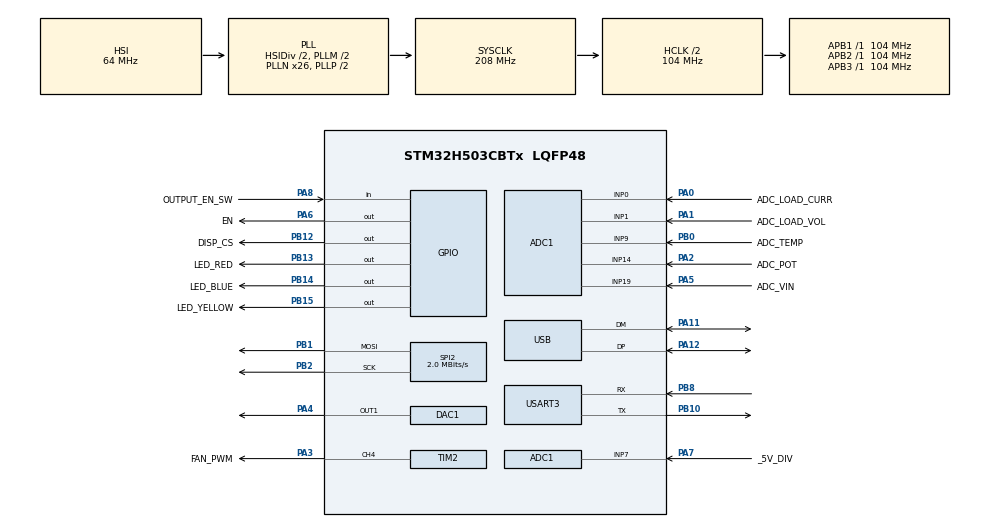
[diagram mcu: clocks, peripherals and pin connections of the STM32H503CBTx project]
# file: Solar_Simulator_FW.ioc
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ADC1.Channel-2\#ChannelRegularConversion=ADC_CHANNEL_1
ADC1.Channel-3\#ChannelRegularConversion=ADC_CHANNEL_0
ADC1.Channel-4\#ChannelRegularConversion=ADC_CHANNEL_19
ADC1.Channel-5\#ChannelRegularConversion=ADC_CHANNEL_9
ADC1.Channel-6\#ChannelRegularConversion=ADC_CHANNEL_14
ADC1.ContinuousConvMode=DISABLE
ADC1.DMAContinuousRequests=DISABLE
ADC1.EOCSelection=ADC_EOC_SINGLE_CONV
ADC1.EnableRegularConversion=ENABLE
ADC1.ExternalTrigConv=ADC_EXTERNALTRIG_T3_TRGO
ADC1.MonitoredBy-2\#ChannelRegularConversion=__NULL
ADC1.MonitoredBy-3\#ChannelRegularConversion=__NULL
ADC1.MonitoredBy-4\#ChannelRegularConversion=__NULL
ADC1.MonitoredBy-5\#ChannelRegularConversion=__NULL
ADC1.MonitoredBy-6\#ChannelRegularConversion=__NULL
ADC1.NbrOfConversion=5
ADC1.NbrOfConversionFlag=1
ADC1.OffsetNumber-2\#ChannelRegularConversion=ADC_OFFSET_NONE
ADC1.OffsetNumber-3\#ChannelRegularConversion=ADC_OFFSET_NONE
ADC1.OffsetNumber-4\#ChannelRegularConversion=ADC_OFFSET_NONE
ADC1.OffsetNumber-5\#ChannelRegularConversion=ADC_OFFSET_NONE
ADC1.OffsetNumber-6\#ChannelRegularConversion=ADC_OFFSET_NONE
ADC1.OversamplingMode=DISABLE
ADC1.Rank-2\#ChannelRegularConversion=1
ADC1.Rank-3\#ChannelRegularConversion=2
ADC1.Rank-4\#ChannelRegularConversion=3
ADC1.Rank-5\#ChannelRegularConversion=4
ADC1.Rank-6\#ChannelRegularConversion=5
ADC1.SamplingTime-2\#ChannelRegularConversion=ADC_SAMPLETIME_12CYCLES_5
ADC1.SamplingTime-3\#ChannelRegularConversion=ADC_SAMPLETIME_12CYCLES_5
ADC1.SamplingTime-4\#ChannelRegularConversion=ADC_SAMPLETIME_6CYCLES_5
ADC1.SamplingTime-5\#ChannelRegularConversion=ADC_SAMPLETIME_6CYCLES_5
ADC1.SamplingTime-6\#ChannelRegularConversion=ADC_SAMPLETIME_6CYCLES_5
ADC1.master=1
BOOTPATH.BootPathName=LEGACY
BOOTPATH.UserSelectedBootPath=LEGACY
DAC1.DAC_Channel-DAC_OUT1=DAC_CHANNEL_1
GPDMA1.CIRCULARMODE_GPDMACH7=DISABLE
GPDMA1.DESTDATAWIDTH_GPDMACH7=DMA_DEST_DATAWIDTH_HALFWORD
GPDMA1.DESTINC_GPDMACH7=DMA_DINC_INCREMENTED
GPDMA1.IPHANDLE_GPDMACH7-SIMPLEREQUEST_GPDMACH7=__NULL
GPDMA1.PRIORITY_GPDMACH7=DMA_LOW_PRIORITY_HIGH_WEIGHT
GPDMA1.REQUEST_GPDMACH7=GPDMA1_REQUEST_ADC1
GPDMA1.SRCDATAWIDTH_GPDMACH7=DMA_SRC_DATAWIDTH_HALFWORD
GPDMA1.TRIGGERPOLARITY_GPDMACH7=DMA_TRIG_POLARITY_MASKED
Mcu.Family=STM32H5
Mcu.Name=STM32H503CBTx
Mcu.Package=LQFP48
NVIC.GPDMA1_Channel7_IRQn=true\:0\:0\:false\:false\:true\:false\:true\:true
NVIC.PriorityGroup=NVIC_PRIORITYGROUP_4
NVIC.TIM1_UP_IRQn=true\:1\:0\:true\:false\:true\:true\:true\:true
NVIC.TIM3_IRQn=true\:0\:0\:false\:false\:true\:true\:true\:true
PA0.GPIO_Label=ADC_LOAD_CURR
PA0.Signal=ADCx_INP0
PA1.GPIO_Label=ADC_LOAD_VOL
PA1.Signal=ADCx_INP1
PA11.Mode=Device
PA11.Signal=USB_DM
PA12.Mode=Device
PA12.Signal=USB_DP
PA13(JTMS/SWDIO).Mode=Trace_Asynchronous_SW
PA13(JTMS/SWDIO).Signal=DEBUG_JTMS-SWDIO
PA14(JTCK/SWCLK).Mode=Trace_Asynchronous_SW
PA14(JTCK/SWCLK).Signal=DEBUG_JTCK-SWCLK
PA2.GPIO_Label=ADC_POT
PA2.Signal=ADCx_INP14
PA3.GPIO_Label=FAN_PWM
PA3.Signal=S_TIM2_CH4
PA4.Signal=COMP_DAC11_group
PA5.GPIO_Label=ADC_VIN
PA5.Signal=ADCx_INP19
PA6.GPIO_Label=EN
PA6.Signal=GPIO_Output
PA7.GPIO_Label=_5V_DIV
PA7.Signal=ADCx_INP7
PA8.GPIO_Label=OUTPUT_EN_SW
PA8.Signal=GPIO_Input
PB0.GPIO_Label=ADC_TEMP
PB0.Signal=ADCx_INP9
PB1.Mode=TX_Only_Simplex_Unidirect_Master
PB1.Signal=SPI2_MOSI
PB10.Mode=Asynchronous
PB10.Signal=USART3_TX
PB12.GPIO_Label=DISP_CS
PB12.Signal=GPIO_Output
PB13.GPIO_Label=LED_RED
PB13.Signal=GPIO_Output
PB14.GPIO_Label=LED_BLUE
PB14.Signal=GPIO_Output
PB15.GPIO_Label=LED_YELLOW
PB15.Signal=GPIO_Output
PB2.Mode=TX_Only_Simplex_Unidirect_Master
PB2.Signal=SPI2_SCK
PB3(JTDO/TRACESWO).Mode=Trace_Asynchronous_SW
PB3(JTDO/TRACESWO).Signal=DEBUG_JTDO-SWO
PB8.Mode=Asynchronous
PB8.Signal=USART3_RX
ProjectManager.HeapSize=0x200
ProjectManager.StackSize=0x400
ProjectManager.TargetToolchain=STM32CubeIDE
RCC.ADCFreq_Value=104000000
RCC.AHBCLKDivider=RCC_SYSCLK_DIV2
RCC.AHBFreq_Value=104000000
RCC.APB1Freq_Value=104000000
RCC.APB1TimFreq_Value=104000000
RCC.APB2Freq_Value=104000000
RCC.APB2TimFreq_Value=104000000
RCC.APB3Freq_Value=104000000
RCC.CSI_VALUE=4000000
RCC.CortexFreq_Value=104000000
RCC.DACLowPowerCLockSelection=RCC_DACLPCLKSOURCE_LSI
RCC.EPOD_VALUE=32000000
RCC.HCLKFreq_Value=104000000
RCC.HSE_VALUE=25000000
RCC.HSI48_VALUE=48000000
RCC.HSI_VALUE=64000000
RCC.LSE_VALUE=32768
RCC.LSIRC_VALUE=32000
RCC.PLL1Q=16
RCC.PLL2FRACN=0
RCC.PLL2N=32
RCC.PLL2P=32
RCC.PLL2Q=1
RCC.PLLFRACN=0
RCC.PLLM=2
RCC.PLLN=26
RCC.PLLSourceVirtual=RCC_PLL1_SOURCE_HSI
RCC.PWR_Regulator_Voltage_Scale=PWR_REGULATOR_VOLTAGE_SCALE0
RCC.SPI2CLockSelection=RCC_SPI2CLKSOURCE_PLL2P
RCC.SYSCLKFreq_VALUE=208000000
RCC.SYSCLKSource=RCC_SYSCLKSOURCE_PLLCLK
RCC.USART3CLockSelection=RCC_USART3CLKSOURCE_HSI
RCC.USBFreq_Value=48000000
RCC.VCOOutputFreq_Value=416000000
SH.ADCx_INP0.0=ADC1_INP0,IN0-Single-Ended
SH.ADCx_INP1.0=ADC1_INP1,IN1-Single-Ended
SH.ADCx_INP14.0=ADC1_INP14,IN14-Single-Ended
SH.ADCx_INP19.0=ADC1_INP19,IN19-Single-Ended
SH.ADCx_INP7.0=ADC1_INP7,IN7-Single-Ended
SH.ADCx_INP9.0=ADC1_INP9,IN9-Single-Ended
SH.COMP_DAC11_group.0=DAC1_OUT1,DAC_OUT1
SH.S_TIM2_CH4.0=TIM2_CH4,PWM Generation4 CH4
SPI2.BaudRatePrescaler=SPI_BAUDRATEPRESCALER_2
SPI2.CalculateBaudRate=2.0 MBits/s
SPI2.DataSize=SPI_DATASIZE_8BIT
SPI2.Direction=SPI_DIRECTION_2LINES_TXONLY
SPI2.FirstBit=SPI_FIRSTBIT_LSB
SPI2.Mode=SPI_MODE_MASTER
SPI2.NSSPMode=SPI_NSS_PULSE_DISABLE
SPI2.VirtualType=VM_MASTER
TIM1.PeriodNoDither=59999
TIM1.Prescaler=519
TIM2.Channel-PWM\ Generation4\ CH4=TIM_CHANNEL_4
TIM3.PeriodNoDither=10399
TIM3.TIM_MasterOutputTrigger=TIM_TRGO_UPDATE
USART3.VirtualMode-Asynchronous=VM_ASYNC
USB.VirtualMode=Device_Only
VP_BOOTPATH_VS_BOOTPATH.Mode=BP_Activate
VP_CORTEX_M33_NS_VS_Hclk.Mode=Hclk_Mode
VP_GPDMA1_VS_GPDMACH7.Mode=SIMPLEREQUEST_GPDMACH7
VP_MEMORYMAP_VS_MEMORYMAP.Mode=CurAppReg
VP_PWR_VS_DBSignals.Mode=DisableDeadBatterySignals
VP_PWR_VS_LPOM.Mode=PowerOptimisation
VP_PWR_VS_SECSignals.Mode=Security/Privilege
VP_TIM1_VS_ClockSourceINT.Mode=Internal
VP_TIM3_VS_ClockSourceINT.Mode=Internal
board=custom

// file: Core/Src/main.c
/* USER CODE BEGIN Header */
/**
  ******************************************************************************
  * @file           : main.c
  * @brief          : Main program body
  ******************************************************************************
  * @attention
  *
  * Copyright (c) 2025 STMicroelectronics.
  * All rights reserved.
  *
  * This software is licensed under terms that can be found in the LICENSE file
  * in the root directory of this software component.
  * If no LICENSE file comes with this software, it is provided AS-IS.
  *
  ******************************************************************************
  */
/* USER CODE END Header */
#include "main.h"

/* USER CODE BEGIN Includes */
#include "constants.h"
#include <stdbool.h>
/* USER CODE END Includes */

/* USER CODE BEGIN PD */
#define _swap_int16_t(a, b)                                                    \
  {                                                                            \
    int16_t t = a;                                                             \
    a = b;                                                                     \
    b = t;                                                                     \
  }
/* USER CODE END PD */

ADC_HandleTypeDef hadc1;
DMA_HandleTypeDef handle_GPDMA1_Channel7;

DAC_HandleTypeDef hdac1;

SPI_HandleTypeDef hspi2;

TIM_HandleTypeDef htim1;
TIM_HandleTypeDef htim2;
TIM_HandleTypeDef htim3;

UART_HandleTypeDef huart3;

PCD_HandleTypeDef hpcd_USB_DRD_FS;

void SystemClock_Config(void);
static void MX_GPIO_Init(void);
static void MX_GPDMA1_Init(void);
static void MX_ADC1_Init(void);
static void MX_DAC1_Init(void);
static void MX_SPI2_Init(void);
static void MX_TIM2_Init(void);
static void MX_USART3_UART_Init(void);
static void MX_USB_PCD_Init(void);
static void MX_TIM3_Init(void);
static void MX_TIM1_Init(void);
/* USER CODE BEGIN PFP */
void sendData(char* data);
void Read_ADC_Values(void);
void ADC_SelectChannel(uint32_t channel);
void clearDisplay();
void SPI_Transmit(uint8_t *txData, uint16_t len);
void drawLine(uint8_t lineNumber);
void toggle_VCOM();
void writeBuffer();
void init_buffer();
void clearDisplay();
void drawPixel(int16_t x, int16_t y, uint16_t color);
void writeLine(int16_t x0, int16_t y0, int16_t x1, int16_t y1, uint16_t color);
void drawCircle(int16_t x0, int16_t y0, int16_t r, uint16_t color);
void drawFastRawVLine(int16_t x, int16_t y, int16_t h, uint16_t color);
void drawFastRawHLine(int16_t x, int16_t y, int16_t w, uint16_t color);
void drawFastHLine(int16_t x, int16_t y, int16_t w, uint16_t color);
void drawFastVLine(int16_t x, int16_t y, int16_t h, uint16_t color);
void fillScreen(uint16_t color);
void fillRect(int16_t x, int16_t y, int16_t w, int16_t h, uint16_t color);
void drawChar(int16_t x, int16_t y, unsigned char c, uint16_t color, uint16_t bg, uint8_t size_x, uint8_t size_y);
void drawString(int16_t x, int16_t y, const char *str,  uint16_t color, uint16_t bg, uint8_t size_x, uint8_t size_y);
void drawDouble(float val, int16_t x, int16_t y);
void drawInt(int val, int16_t x, int16_t y);
float map(float x, float in_min, float in_max, float out_min, float out_max);
void HAL_TIM_PeriodElapsedCallback(TIM_HandleTypeDef *htim);
void HAL_ADC_ConvCpltCallback(ADC_HandleTypeDef *hadc);
static inline int find_indices(const float array[], int n, float x);
static inline float linear_interpolate(float x0, float x1, float y1, float x, float slope);
static inline float limit(float in, float min, float max);
void curve_interp(uint16_t irradiance, float *V_sc_interp_inactive, float *Z_sc_interp_inactive);
void curve_interp_1d(float *x_orig, float *y_orig, uint8_t n_orig, float *x_new, float *y_new, uint8_t n_new);

volatile uint8_t slow_timer_flag = 0;
volatile uint16_t adc_buffer[5];

uint8_t Vcom;
uint8_t Line_cnt=0;
uint8_t sharpmem_buffer[400 * 240 / 8];
uint8_t rotation = 0;
volatile uint16_t DAC_test = 0;
volatile uint16_t cnt_pol = 0;

// Digital control loop test
uint32_t ADC_LOAD_VOL_CNTS = 0;
volatile float ADC_LOAD_VOL_V = 0;
volatile float ADC_VIN_V = 0;
volatile float ADC_LOAD_CUR_A = 0;
volatile float error = 0;
volatile float err_accum = 0;
volatile float REF_V = 0;
volatile float u = 0;
volatile uint16_t REF_CNTS = 0;

volatile uint16_t Z_target_ind = 0;
volatile float Z_V_slopes[45];
volatile float V_target = 0;
volatile float Z_out = 0;
volatile float Z_out_filt = 0;
volatile float Z_out_filt_prev = 0;

uint16_t ADC_POT_IRR_FILT = 0;
uint16_t ADC_POT_IRR_FILT_PREV = 0;

// 1<<n is a costly operation on AVR -- table usu. smaller & faster
static const uint8_t set[] = {1, 2, 4, 8, 16, 32, 64, 128};
static const uint8_t clr[] = {(uint8_t)~1,  (uint8_t)~2,  (uint8_t)~4,
                              (uint8_t)~8,  (uint8_t)~16, (uint8_t)~32,
                              (uint8_t)~64, (uint8_t)~128};

volatile uint16_t x1_mapped;
volatile uint16_t x2_mapped;
volatile uint16_t y1_mapped;
volatile uint16_t y2_mapped;
volatile uint16_t i = 0;

volatile float V_sc_interp_A[63];
volatile float Z_sc_interp_A[63];

volatile float V_sc_interp_B[63];
volatile float Z_sc_interp_B[63];

volatile float Z_V_slopes_A[63];
volatile float Z_V_slopes_B[63];

volatile uint8_t A_buffer_active = 1;
volatile uint8_t initial_run = 0;

uint32_t lastStableTime = 0; // Last time the value was stable
bool isStable = false;       // Flag to indicate stability
bool hasRun = false;         // Flag to ensure the code runs only once per stable value

/* USER CODE END PFP */

/* USER CODE BEGIN 0 */
void sendData(char* data)
{
    HAL_UART_Transmit(&huart3, (uint8_t*)data, strlen(data), HAL_MAX_DELAY);
}

void ADC_SelectChannel(uint32_t channel)
{
    ADC_ChannelConfTypeDef sConfig = {0};

    sConfig.Channel = channel;
    sConfig.Rank = ADC_REGULAR_RANK_1;
    sConfig.SamplingTime = ADC_SAMPLETIME_92CYCLES_5;
    sConfig.SingleDiff = ADC_SINGLE_ENDED;
    sConfig.OffsetNumber = ADC_OFFSET_NONE;
    sConfig.Offset = 0;

    // Configure the selected channel
    HAL_ADC_ConfigChannel(&hadc1, &sConfig);
}

uint32_t Read_ADC_Value(uint32_t channel)
{

	ADC_SelectChannel(channel);

    // Start the ADC conversion
    HAL_ADC_Start(&hadc1);

    // Wait for the conversion to complete (polling mode)
    if (HAL_ADC_PollForConversion(&hadc1, 10) == HAL_OK)  // 10ms timeout
    {
        uint32_t adcValue = HAL_ADC_GetValue(&hadc1);
        HAL_ADC_Stop(&hadc1);

    	return adcValue;
    }
    else
    {
        HAL_ADC_Stop(&hadc1);  // Make sure to stop the ADC conversion in case of error
    	return 0xFFFF;
    }
}

void SPI_Transmit(uint8_t *txData, uint16_t len)
{
    // Enable the chip select (CS) line if using software NSS
    //HAL_GPIO_WritePin(GPIOB, DISP_CS_Pin, GPIO_PIN_RESET);
    // Transmit data
    //uint16_t length = 1;//strlen((char *)txData);

    if (HAL_SPI_Transmit(&hspi2, txData, len, HAL_MAX_DELAY) != HAL_OK)
    {
        // Handle error
        Error_Handler();
    }

    // Disable the chip select (CS) line
    //HAL_GPIO_WritePin(GPIOB, DISP_CS_Pin, GPIO_PIN_SET);
}

void drawLine(uint8_t lineNumber) {

  HAL_GPIO_WritePin(GPIOB, DISP_CS_Pin, GPIO_PIN_SET);
  uint8_t line_cmd[] = {(0x01 | Vcom), lineNumber};
  //uint8_t temp = (0x01 | Vcom);
  SPI_Transmit(&line_cmd, 2); //write line command (bits reversed)
  //SPI_Transmit(&temp,1); //write line command (bits reversed)
  //SPI_Transmit(&lineNumber,1);
  uint8_t zerob = 0b00000000;
  for (int i = 0; i <50; i++) {
	  SPI_Transmit(&zerob, 1);
  }
  SPI_Transmit(&zerob, 1);
  SPI_Transmit(&zerob, 1);
  HAL_GPIO_WritePin(GPIOB, DISP_CS_Pin, GPIO_PIN_RESET);

}

void toggle_VCOM(){
  HAL_GPIO_WritePin(GPIOB, DISP_CS_Pin, GPIO_PIN_SET);
  Vcom = Vcom ? 0x00 : 0x02;
  uint8_t tog_cmd[] = {Vcom, 0x00};
  SPI_Transmit(&tog_cmd, 2); //write line command (bits reversed)
  HAL_GPIO_WritePin(GPIOB, DISP_CS_Pin, GPIO_PIN_RESET);
}

void writeBuffer(){
  uint16_t i, currentline;
  HAL_GPIO_WritePin(GPIOB, DISP_CS_Pin, GPIO_PIN_SET);

  uint8_t temp = (0x01 | Vcom);
  SPI_Transmit(&temp, 1);
  Vcom = Vcom ? 0x00 : 0x02;

  uint8_t bytes_per_line = 50;
  uint16_t totalbytes = 12000;

  for (i = 0; i < totalbytes; i += bytes_per_line) {
    uint8_t line[bytes_per_line + 2];

    // Send address byte
    currentline = ((i + 1) / (400 / 8)) + 1;
    line[0] = currentline;
    // copy over this line
    memcpy(line + 1, sharpmem_buffer + i, bytes_per_line);
    // Send end of line
    line[bytes_per_line + 1] = 0x00;
    // send it!
    //spidev->transfer(line, bytes_per_line + 2);
    SPI_Transmit(line, bytes_per_line + 2);
  }
  uint8_t zerob = 0b00000000;
  SPI_Transmit(&zerob, 1);

  HAL_GPIO_WritePin(GPIOB, DISP_CS_Pin, GPIO_PIN_RESET);

}

void init_buffer(){

	  // set all pixels in frame buffer to 1
	  for (i = 0; i < 12000; i++) {
		  sharpmem_buffer[i] = 255;
	  }

	 /* writeLine(30, 10, 30, 110, 0);
	  writeLine(30, 110, 260, 110, 0);

	  writeLine(30, 130, 30, 230, 0);
	  writeLine(30, 230, 260, 230, 0); */

	  writeLine(40, 50, 40, 200, 0);
	  writeLine(40, 200, 325, 200, 0);

	 /* for (i = 0; i < 44; i++) {
		  uint16_t x1_mapped =  map(V_sc[i], 0, 3, 30, 260);
		  uint16_t x2_mapped =  map(V_sc[i+1], 0, 3, 30, 260);
		  uint16_t y1_mapped =  map(V_sc[i]/Z_sc[i], 0, .075, 110, 10);
		  uint16_t y2_mapped =  map(V_sc[i+1]/Z_sc[i+1], 0, .075, 110, 10);

		  writeLine(x1_mapped, y1_mapped, x2_mapped, y2_mapped, 0);
	  }*/

	  for (i = 0; i < 60; i++) {

			  if(A_buffer_active == 1){
				  x1_mapped =  map(V_sc_interp_A[i], 0, 5, 40, 320);
				  x2_mapped =  map(V_sc_interp_A[i+1], 0, 5, 40, 320);
				  y1_mapped =  map(V_sc_interp_A[i]/Z_sc_interp_A[i], 0, .05, 200, 50);
				  y2_mapped =  map(V_sc_interp_A[i+1]/Z_sc_interp_A[i+1], 0, .05, 200, 50);
			  }
			  else{
				  x1_mapped =  map(V_sc_interp_B[i], 0, 5, 40, 320);
				  x2_mapped =  map(V_sc_interp_B[i+1], 0, 5, 40, 320);
				  y1_mapped =  map(V_sc_interp_B[i]/Z_sc_interp_B[i], 0, .05, 200, 50);
				  y2_mapped =  map(V_sc_interp_B[i+1]/Z_sc_interp_B[i+1], 0, .05, 200, 50);
			  }
		  writeLine(x1_mapped, y1_mapped, x2_mapped, y2_mapped, 0);
	  }

	  drawString(120,210,"Output Voltage [V]", 0, 1, 1, 1);
	  rotation = 3;
	  drawString(60,25,"Output Current [mA]", 0, 1, 1, 1);
	  rotation = 0;

	  drawString(25,48,"50", 0, 1, 1, 1);
	  drawString(325,205,"5", 0, 1, 1, 1);

	  for(uint8_t k=0; k<10; k++){
		writeLine(40,185-k*15,45,185-k*15,0);
	  }

	  for(uint8_t k=0; k<19; k++){
		writeLine(55+k*15,200,55+k*15,195,0);
	  }

	  //writeLine(19)
	  /*drawPixel(101,100,0);
	  writeLine(100,100,150,150,0);
	  drawCircle(250,100, 50, 0);
	  fillRect(100,50,50,50,0);
	  drawChar(25, 25, 'a', 0, 1, 2, 2);
	  drawString(25, 50, "Vout=2.436 V",  0, 1, 1, 1);

*/
}

void clearDisplay() {
  // MLCD write line command 0x80, reversed 0x01
  // MLCD clear memory command 0x20, reversed 0x04
  // MLCD static mode command 0x00
  // MLCD VCOM bit 0x40 , reversed 0x02
  HAL_GPIO_WritePin(GPIOB, DISP_CS_Pin, GPIO_PIN_SET);
  uint8_t clear_cmd[] = {(0x04 | Vcom), 0};
  SPI_Transmit(&clear_cmd, 2);
  Vcom = Vcom ? 0x00 : 0x02;
  //uint8_t temp = (0x04 | Vcom);
  //SPI_Transmit(&temp);
  //uint8_t zerob = 0b00000000;
  //SPI_Transmit(&zerob);
  HAL_GPIO_WritePin(GPIOB, DISP_CS_Pin, GPIO_PIN_RESET);
}

void drawPixel(int16_t x, int16_t y, uint16_t color){
	int16_t t;

    switch (rotation) {
    case 1:
      t = x;
      x = 400 - 1 - y;
      y = t;
      break;
    case 2:
      x = 400 - 1 - x;
      y = 240 - 1 - y;
      break;
    case 3:
      t = x;
      x = y;
      y = 240 - 1 - t;
      break;
    }

	if ((x < 0) || (x >= 400) || (y < 0) || (y >= 240))
	    return;

	  if (color) {
	    sharpmem_buffer[(y * 400 + x) / 8] |= set[x & 7];
	  } else {
	    sharpmem_buffer[(y * 400 + x) / 8] &= clr[x & 7];
	  }
}

void writeLine(int16_t x0, int16_t y0, int16_t x1, int16_t y1, uint16_t color) {

  int16_t steep = abs(y1 - y0) > abs(x1 - x0);
  if (steep) {
    _swap_int16_t(x0, y0);
    _swap_int16_t(x1, y1);
  }

  if (x0 > x1) {
    _swap_int16_t(x0, x1);
    _swap_int16_t(y0, y1);
  }

  int16_t dx, dy;
  dx = x1 - x0;
  dy = abs(y1 - y0);

  int16_t err = dx / 2;
  int16_t ystep;

  if (y0 < y1) {
    ystep = 1;
  } else {
    ystep = -1;
  }

  for (; x0 <= x1; x0++) {
    if (steep) {
      drawPixel(y0, x0, color);
    } else {
      drawPixel(x0, y0, color);
    }
    err -= dy;
    if (err < 0) {
      y0 += ystep;
      err += dx;
    }
  }
}

void drawCircle(int16_t x0, int16_t y0, int16_t r, uint16_t color) {

  int16_t f = 1 - r;
  int16_t ddF_x = 1;
  int16_t ddF_y = -2 * r;
  int16_t x = 0;
  int16_t y = r;

  drawPixel(x0, y0 + r, color);
  drawPixel(x0, y0 - r, color);
  drawPixel(x0 + r, y0, color);
  drawPixel(x0 - r, y0, color);

  while (x < y) {
    if (f >= 0) {
      y--;
      ddF_y += 2;
      f += ddF_y;
    }
    x++;
    ddF_x += 2;
    f += ddF_x;

    drawPixel(x0 + x, y0 + y, color);
    drawPixel(x0 - x, y0 + y, color);
    drawPixel(x0 + x, y0 - y, color);
    drawPixel(x0 - x, y0 - y, color);
    drawPixel(x0 + y, y0 + x, color);
    drawPixel(x0 - y, y0 + x, color);
    drawPixel(x0 + y, y0 - x, color);
    drawPixel(x0 - y, y0 - x, color);
  }
}

void drawFastRawVLine(int16_t x, int16_t y, int16_t h, uint16_t color) {
	  // x & y already in raw (rotation 0) coordinates, no need to transform.
	  int16_t row_bytes = ((400 + 7) / 8);
	  uint8_t *ptr = &sharpmem_buffer[(x / 8) + y * row_bytes];

	  if (color > 0) {
	    uint8_t bit_mask = (0x80 >> (x & 7));
	    for (int16_t i = 0; i < h; i++) {
	      *ptr |= bit_mask;
	      ptr += row_bytes;
	    }
	  } else {
	    uint8_t bit_mask = ~(0x80 >> (x & 7));
	    for (int16_t i = 0; i < h; i++) {
	      *ptr &= bit_mask;
	      ptr += row_bytes;
	    }
	  }
}

void drawFastRawHLine(int16_t x, int16_t y, int16_t w, uint16_t color) {
  // x & y already in raw (rotation 0) coordinates, no need to transform.
  uint32_t buffer_index = y * 400 + x;
  for (uint32_t i = buffer_index; i < buffer_index + w; i++) {
	  sharpmem_buffer[i] = color;
  }
}

void drawFastHLine(int16_t x, int16_t y, int16_t w, uint16_t color) {
  if (w < 0) { // Convert negative widths to positive equivalent
    w *= -1;
    x -= w - 1;
    if (x < 0) {
      w += x;
      x = 0;
    }
  }
  // Edge rejection (no-draw if totally off canvas)
  if ((y < 0) || (y >= height()) || (x >= width()) || ((x + w - 1) < 0)) {
    return;
  }

  if (x < 0) { // Clip left
    w += x;
    x = 0;
  }
  if (x + w >= width()) { // Clip right
    w = width() - x;
  }

  drawFastRawHLine(x, y, w, color);

}

void drawFastVLine(int16_t x, int16_t y, int16_t h, uint16_t color) {
  /*if (h < 0) { // Convert negative heights to positive equivalent
    h *= -1;
    y -= h - 1;
    if (y < 0) {
      h += y;
      y = 0;
    }
  }

  // Edge rejection (no-draw if totally off canvas)
  if ((x < 0) || (x >= 400) || (y >= 240) || ((y + h - 1) < 0)) {
    return;
  }

  if (y < 0) { // Clip top
    h += y;
    y = 0;
  }
  if (y + h > 240) { // Clip bottom
    h = 240 - y;
  }

  drawFastRawVLine(x, y, h, color);*/
  writeLine(x, y, x, y + h - 1, color);
}

void fillScreen(uint16_t color) {
  if (sharpmem_buffer) {
    uint8_t hi = color >> 8, lo = color & 0xFF;
    if (hi == lo) {
      memset(sharpmem_buffer, lo, 400 * 240 * 2);
    } else {
      uint32_t i, pixels = 400 * 240;
      for (i = 0; i < pixels; i++)
    	 sharpmem_buffer[i] = color;
    }
  }
}

void fillRect(int16_t x, int16_t y, int16_t w, int16_t h, uint16_t color) {
  for (int16_t i = x; i < x + w; i++) {
    drawFastVLine(i, y, h, color);
  }
}

void drawChar(int16_t x, int16_t y, unsigned char c, uint16_t color, uint16_t bg, uint8_t size_x, uint8_t size_y) {

	if ((x >= 400) ||              // Clip right
		(y >= 240) ||             // Clip bottom
		((x + 6 * size_x - 1) < 0) || // Clip left
		((y + 8 * size_y - 1) < 0))   // Clip top
	  return;

	if ((c >= 176))
	  c++; // Handle 'classic' charset behavior

	for (int8_t i = 0; i < 5; i++) { // Char bitmap = 5 columns
	  uint8_t line = font[c * 5 + i];
	  for (int8_t j = 0; j < 8; j++, line >>= 1) {
		if (line & 1) {
		  if (size_x == 1 && size_y == 1)
			drawPixel(x + i, y + j, color);
		  else
			fillRect(x + i * size_x, y + j * size_y, size_x, size_y, color);
		} else if (bg != color) {
		  if (size_x == 1 && size_y == 1)
			  drawPixel(x + i, y + j, bg);
		  else
			fillRect(x + i * size_x, y + j * size_y, size_x, size_y, bg);
		}
	  }
	}
	if (bg != color) { // If opaque, draw vertical line for last column
	  if (size_x == 1 && size_y == 1)
		drawFastVLine(x + 5, y, 8, bg);
	  else
		fillRect(x + 5 * size_x, y, size_x, 8 * size_y, bg);
	}

}

void drawString(int16_t x, int16_t y, const char *str,  uint16_t color, uint16_t bg, uint8_t size_x, uint8_t size_y){
	int16_t cursor_x = x;
	int16_t cursor_y = y;
	int16_t len = strlen(str);

	uint32_t i = 0;
	for(i; i<len; i++){
		drawChar(cursor_x, cursor_y, str[i], color, bg, size_x, size_y);
		cursor_x += 6;
	}

}

void drawDouble(float val, int16_t x, int16_t y){
	char count_str[50];
	sprintf(count_str, "%.3f", val);
	drawString(x, y, count_str,  0, 1, 1, 1);
}

void drawInt(int val, int16_t x, int16_t y){
	char count_str[50];
	sprintf(count_str, "%d", val);
	drawString(x, y, count_str,  0, 1, 1, 1);
}

float map(float x, float in_min, float in_max, float out_min, float out_max) {
    // Handle division by zero and avoid NaN results
    if (in_max - in_min == 0) {
        return 0; // Return a default value
    }
    // Map the input value to the new range
    return (x - in_min) * (out_max - out_min) / (in_max - in_min) + out_min;
}

// Timer callback implementation
void HAL_TIM_PeriodElapsedCallback(TIM_HandleTypeDef *htim)
{
    if (htim->Instance == TIM1)  // Check if interrupt is from TIM1
    {
        slow_timer_flag = 1;  // Set the flag
    }
    else if (htim->Instance == TIM3)
    {
    	HAL_GPIO_WritePin(GPIOB, LED_RED_Pin, GPIO_PIN_SET);
    	//HAL_GPIO_TogglePin(GPIOB, LED_RED_Pin);
    	//ADC_LOAD_VOL_CNTS = Read_ADC_Value(ADC_CHANNEL_1);
    	//ADC_LOAD_VOL_V    = (double)ADC_LOAD_VOL_CNTS/4095.0*2.5*6.0;
/*
    	error = 3 - ADC_LOAD_VOL_V;

        u =  .001*error + .01*err_accum;
        err_accum = err_accum + error * 1e-4;
        //Int_1 = limit(Int_1, -1, .0465);

    	REF_V = 2.5 - (u/2.5*4095.0)*2.5/4095.0;
    	REF_CNTS = (uint16_t)REF_V;
    	//VREF = 2.5 - int(VREF/2.5*4095)*2.5/4095;

    	if(DAC_test == 4000){
    		cnt_pol = -1;
    	}

    	else if(DAC_test == 2000 ){
    		cnt_pol = 1;
    	}

    	DAC_test+=cnt_pol;

		HAL_DAC_SetValue(&hdac1, DAC_CHANNEL_1, DAC_ALIGN_12B_R, DAC_test);
    	HAL_GPIO_TogglePin(GPIOB, LED_RED_Pin);*/

    }
}

void HAL_ADC_ConvCpltCallback(ADC_HandleTypeDef *hadc)
{
    if (hadc->Instance == ADC1)
    {
    	//HAL_GPIO_WritePin(GPIOB, LED_RED_Pin, GPIO_PIN_SET);
        ADC_LOAD_VOL_V  = (float)adc_buffer[0]*0.00366300366; ///4095.0*2.5*6.0
		ADC_LOAD_CUR_A  = ((float)adc_buffer[1]*0.00015262515 - 0.031095); ///4095.0*2.5 - 0.12438)/0.20/20.0

	    Z_out = ADC_LOAD_VOL_V / ADC_LOAD_CUR_A;
	    Z_out = limit(Z_out, .25, 22e3);

	    //alpha = calculate_alpha(1000, 50e3);
	    Z_out_filt = 0.38586954509 * Z_out + (0.6141304549)*Z_out_filt_prev;
	    Z_out_filt_prev = Z_out_filt;

        // A_buffer being used in high speed loop
    	if(A_buffer_active == 1 && initial_run==1){
    		Z_target_ind = find_indices(Z_sc_interp_A, 63, Z_out);
    		//Z_target_ind = 50;
    		V_target = linear_interpolate(Z_sc_interp_A[Z_target_ind], Z_sc_interp_A[Z_target_ind-1], V_sc_interp_A[Z_target_ind], Z_out, Z_V_slopes_A[Z_target_ind]);
    		//ADC_LOAD_VOL_V = V_target;

    	}

    	// B_buffer being used in high speed loop
    	else if(A_buffer_active == 0 && initial_run==1){
    		Z_target_ind = find_indices(Z_sc_interp_B, 63, Z_out);
    		//Z_target_ind = 50;
    		V_target = linear_interpolate(Z_sc_interp_B[Z_target_ind], Z_sc_interp_B[Z_target_ind-1], V_sc_interp_B[Z_target_ind], Z_out, Z_V_slopes_B[Z_target_ind]);
    	}

    	else{
    		V_target = 0.1;
    	}

    	//Z_target_ind = find_indices(Z_sc, 46, Z_out);
    	//V_target = linear_interpolate(Z_sc[Z_target_ind], Z_sc[Z_target_ind-1], V_sc[Z_target_ind], Z_out, Z_V_slopes[Z_target_ind]);

    	V_target = limit(V_target, 0.1, 7);

    	error = V_target - ADC_LOAD_VOL_V;
        if((error < 2e-3) & (error>0)){
        	error = 0;
        }
        else if((error > -2e-3) & (error<0)){
        	error = 0;
        }

        u =  .3*error + 20*err_accum;
        err_accum = err_accum + error * 1e-4;
        //Int_1 = limit(Int_1, -1, .0465);

        //ADC_VIN_V = V_target;

    	REF_V = 2.5 - u;
    	REF_CNTS = (uint16_t)(REF_V*1638); // /2.5*4095.0
    	if(REF_CNTS>4095)
    		REF_CNTS = 4095;
    	else if(REF_CNTS<0)
    		REF_CNTS = 0;

    	//ADC_VIN_V = REF_CNTS;

		HAL_DAC_SetValue(&hdac1, DAC_CHANNEL_1, DAC_ALIGN_12B_R, REF_CNTS);
    	HAL_GPIO_WritePin(GPIOB, LED_RED_Pin, GPIO_PIN_RESET);

    	//HAL_GPIO_TogglePin(GPIOB, LED_RED_Pin);
    	HAL_ADC_Start_DMA(&hadc1, (uint32_t *)adc_buffer, 5);

    }
}

static inline int find_indices(const float array[], int n, float x) {
    uint8_t i = 1;
	for (i; i < n; i++) {
        if (array[i-1] >= x && x > array[i]) {
            return i;
        }
    }
    // If no valid indices are found
    return -1;
}

static inline float limit(float in, float min, float max){
   if(in>max){
      in=max;
   }
   else if(in<min){
      in = min;
   }
   return in;
}

static inline float linear_interpolate(float x0, float x1, float y0, float x, float slope){

    return y0 + slope * (x - x0);
}

void precompute_slopes(const float *x_values, const float *y_values, float *slopes, int size) {

	for (uint8_t i = 1; i < size; i++) {
        float dx = x_values[i - 1] - x_values[i];
        float dy = y_values[i - 1] - y_values[i];

        // Avoid division by zero
        if (dx != 0.0f) {
            slopes[i] = dy / dx;
        } else {
            slopes[i] = 0.0f;  // Handle vertical segments
        }
    }
}

void curve_interp_1d(float *x_orig, float *y_orig, uint8_t n_orig, float *x_new, float *y_new, uint8_t n_new)
{
    for (uint8_t i = 0; i < n_new; i++) {
    	float x = x_new[i];

        // Find the interval [x_orig[j], x_orig[j+1]] where x falls
    	uint8_t j;
        for (j = 0; j < n_orig - 1; j++) {
            if (x_orig[j] <= x && x <= x_orig[j + 1]) {
                break;
            }
        }

        // Handle edge cases where x is outside the range
        if (j == n_orig - 1 || x < x_orig[0]) {
            y_new[i] = (x < x_orig[0]) ? y_orig[0] : y_orig[n_orig - 1];
            continue;
        }

        // Linear interpolation formula
        float x1 = x_orig[j], y1 = y_orig[j];
        float x2 = x_orig[j + 1], y2 = y_orig[j + 1];
        y_new[i] = y1 + (y2 - y1) / (x2 - x1) * (x - x1);
    }
}

void curve_interp(uint16_t irradiance, float *V_sc_interp_inactive, float *Z_sc_interp_inactive){

	char buffert[50];

	uint16_t curve_num_low  = (uint16_t)floor((float)irradiance / 100);
	uint16_t curve_num_high = (uint16_t)ceil((float)irradiance / 100);
	float alpha = ((float)(irradiance - curve_num_low*100))/100;

	float x_max_1 = V_max[curve_num_low-1];
	float x_max_2 = V_max[curve_num_high-1];
	float x_max_new = x_max_1 + (x_max_2 - x_max_1) * alpha;

	//sprintf(buffert, "%.3f\r\n", alpha);
	//sendData(buffert);

	float x1_norm[62];
	float x2_norm[62];
	float y2_interp_norm[62];
	float y1;
	float y2[62];

	for(int i=0; i<62; i++){
		x1_norm[i] = V_sc_irr[i] / x_max_1;
		x2_norm[i] = V_sc_irr[i] / x_max_2;
		y2[i] = Z_sc_irr[(62 * (curve_num_high-1) + i)];
		//sprintf(buffert, "%.3f\r\n", y2[i]);
		//sendData(buffert);
	}

	curve_interp_1d(x2_norm, y2, 62, x1_norm, y2_interp_norm, 62);

	for(int i=0; i<62; i++){
		y1 = Z_sc_irr[(62 * (curve_num_low-1) + i)];
		Z_sc_interp_inactive[61-i] =  (1 - alpha) * y1 + alpha * y2_interp_norm[i];
		V_sc_interp_inactive[61-i] = x1_norm[i] * x_max_new;
		/*sprintf(buffert, "%.3f\r\n", Z_sc_interp_inactive[i]);
		//sprintf(buffert, "%.3f\r\n", y2_interp_norm[i]);
		sendData(buffert);*/
	}
	V_sc_interp_inactive[62] = 0;
	Z_sc_interp_inactive[62] = 0;
}

/* USER CODE END 0 */

int main(void)
{

  /* MCU Configuration--------------------------------------------------------*/

  /* Reset of all peripherals, Initializes the Flash interface and the Systick. */
  HAL_Init();

  /* Configure the system clock */
  SystemClock_Config();

  /* Initialize all configured peripherals */
  MX_GPIO_Init();
  MX_GPDMA1_Init();
  MX_ADC1_Init();
  MX_DAC1_Init();
  MX_SPI2_Init();
  MX_TIM2_Init();
  MX_USART3_UART_Init();
  MX_USB_PCD_Init();
  MX_TIM3_Init();
  MX_TIM1_Init();
  /* USER CODE BEGIN 2 */
  HAL_GPIO_WritePin(GPIOA, EN_Pin, GPIO_PIN_RESET);
  HAL_ADCEx_Calibration_Start(&hadc1, ADC_SINGLE_ENDED);
  HAL_GPIO_WritePin(GPIOB, DISP_CS_Pin, GPIO_PIN_RESET);
  clearDisplay();
  init_buffer();
  writeBuffer();

  precompute_slopes(Z_sc, V_sc, Z_V_slopes, 46);

  HAL_DAC_Start(&hdac1, DAC_CHANNEL_1); // Start DAC

  HAL_TIM_Base_Start_IT(&htim1);  // Slow LCD interrupt (T = 300ms)
  HAL_TIM_Base_Start_IT(&htim3);  // Fast control loop interrupt (f = 10kHz)
  HAL_ADC_Start_DMA(&hadc1, (uint32_t *)adc_buffer, 5);

  //init_buffer();
  //toggle_VCOM();
  /* USER CODE END 2 */

  /* Infinite loop */
  /* USER CODE BEGIN WHILE */
  while (1)
  {

	  if(slow_timer_flag){
		  //HAL_DAC_Start(&hdac1, DAC_CHANNEL_1); // Start DAC
		  //HAL_DAC_SetValue(&hdac1, DAC_CHANNEL_1, DAC_ALIGN_12B_R, 2300);
		  //sendData("Hello, ST-Link VCP!\n");
		  //uint32_t ADC_VIN_CNTS       = Read_ADC_Value(ADC_CHANNEL_19);
		  //ADC_LOAD_VOL_CNTS           = Read_ADC_Value(ADC_CHANNEL_1);
		  //uint32_t ADC_LOAD_CURR_CNTS = Read_ADC_Value(ADC_CHANNEL_0);
		  //uint32_t ADC_POT_CNTS       = Read_ADC_Value(ADC_CHANNEL_14);
		  //uint32_t ADC_TEMP_CNTS      = Read_ADC_Value(ADC_CHANNEL_9);

		  ADC_VIN_V       = (float)adc_buffer[2]/4095.0*2.5*6.1;
		  //ADC_LOAD_VOL_V         = (double)ADC_LOAD_VOL_CNTS/4095.0*2.5*6.0;
		  //double ADC_LOAD_CUR_A  = ((double)adc_buffer[1]/4095.0*2.5 - 0.12438)/0.20/20.0;
		  float ADC_TEMP_DC     = ((float)adc_buffer[3]/4095.0*2.5 - 0.5)/0.010;
		  uint16_t ADC_POT_IRR  = (uint16_t)((float)adc_buffer[4]*0.2442002442);

		  ADC_POT_IRR_FILT = (uint16_t)((.75 * (float)ADC_POT_IRR) + (0.25 * (float)ADC_POT_IRR_FILT_PREV));

		  	 // *******************
		  uint32_t currentTime = HAL_GetTick(); // Current system time in ms

		  //if(abs(ADC_POT_IRR_FILT_PREV - ADC_POT_IRR_FILT)  > 3){
		  if(ADC_POT_IRR_FILT != ADC_POT_IRR_FILT_PREV){
			  lastStableTime = currentTime;
			  isStable = false;
			  hasRun = false;
		  } else if (!isStable && (currentTime - lastStableTime >= 300)) {
		      // Value remained unchanged for the required duration
			  isStable = true;
		    }
		    if (isStable && !hasRun) {
		        hasRun = true; // Ensure this block only runs once
		        HAL_GPIO_TogglePin(GPIOB, LED_YELLOW_Pin);

		            // A_buffer being used in high speed loop
		        	if(A_buffer_active == 1){
		        		curve_interp(ADC_POT_IRR_FILT, V_sc_interp_B, Z_sc_interp_B);
		        		precompute_slopes(Z_sc_interp_B, V_sc_interp_B, Z_V_slopes_B, 63);
		        		A_buffer_active = 0;

		        	}

		        	// B_buffer being used in high speed loop
		        	else{
		        		curve_interp(ADC_POT_IRR_FILT, V_sc_interp_A, Z_sc_interp_A);
		        		precompute_slopes(Z_sc_interp_A, V_sc_interp_A, Z_V_slopes_A, 63);
		        		A_buffer_active = 1;
		        	}

		        //

				initial_run = 1;

		    } //**************************
		    ADC_POT_IRR_FILT_PREV = ADC_POT_IRR_FILT;

		  /*char adcBuffer1[12];
		  sprintf(adcBuffer1, "%lu\n", ADC_VIN_CNTS);  // Convert to string (optional)

		  sendData(adcBuffer1);
		  sprintf(adcBuffer1, "%lu\n\n", ADC_LOAD_CURR_CNTS);  // Convert to string (optional)
		  sendData(adcBuffer1);*/

		  uint8_t OUTPUT_EN_SW_STATE =  HAL_GPIO_ReadPin(GPIOA, OUTPUT_EN_SW_Pin);
		  HAL_GPIO_WritePin(GPIOA, EN_Pin, OUTPUT_EN_SW_STATE);

		  HAL_GPIO_TogglePin(GPIOB, LED_BLUE_Pin);

		  init_buffer();

		  drawString(290, 20, "Vout = ",  0, 1, 1, 1);
		  drawDouble(ADC_LOAD_VOL_V, 330, 20);
		  drawString(365, 20, "V",  0, 1, 1, 1);

		  drawString(290, 35, "Iout = ",  0, 1, 1, 1);
		  drawDouble(ADC_LOAD_CUR_A*1000, 330, 35);
		  drawString(370, 35, "mA",  0, 1, 1, 1);

		  drawString(290, 50, "Temp = ",  0, 1, 1, 1);
		  drawDouble(ADC_TEMP_DC, 330, 50);
		  drawString(370, 50, "C",  0, 1, 1, 1);

		  drawString(290, 65, "Vin = ",  0, 1, 1, 1);
		  drawDouble(ADC_VIN_V, 330, 65);
		  drawString(365, 65, "V",  0, 1, 1, 1);

		  drawString(290, 80, "Irr = ",  0, 1, 1, 1);
		  drawInt(ADC_POT_IRR_FILT, 330, 80);
		  drawString(350, 80, "W/m^2",  0, 1, 1, 1);

		  //
		  //uint16_t ADC_LOAD_VOL_MAPPED   = (uint16_t)roundf(map(ADC_LOAD_VOL_V, 0, 3, 30, 260));
		  uint16_t ADC_LOAD_VOL_MAPPED   = (uint16_t)roundf(map(ADC_LOAD_VOL_V, 0, 5, 40, 320));
		  uint16_t ADC_LOAD_CUR_A_MAPPED = (uint16_t)roundf(map(ADC_LOAD_CUR_A, 0, .05, 200, 50));
		  drawCircle(ADC_LOAD_VOL_MAPPED, ADC_LOAD_CUR_A_MAPPED, 2, 0);

		  writeBuffer();

		  slow_timer_flag = 0;
		  //HAL_Delay(300);
	  }

    /* USER CODE END WHILE */

  }
}

void SystemClock_Config(void)
{
  RCC_OscInitTypeDef RCC_OscInitStruct = {0};
  RCC_ClkInitTypeDef RCC_ClkInitStruct = {0};

  /** Configure the main internal regulator output voltage
  */
  __HAL_PWR_VOLTAGESCALING_CONFIG(PWR_REGULATOR_VOLTAGE_SCALE0);

  while(!__HAL_PWR_GET_FLAG(PWR_FLAG_VOSRDY)) {}

  /** Initializes the RCC Oscillators according to the specified parameters
  * in the RCC_OscInitTypeDef structure.
  */
  RCC_OscInitStruct.OscillatorType = RCC_OSCILLATORTYPE_HSI48|RCC_OSCILLATORTYPE_HSI
                              |RCC_OSCILLATORTYPE_LSI|RCC_OSCILLATORTYPE_CSI;
  RCC_OscInitStruct.HSIState = RCC_HSI_ON;
  RCC_OscInitStruct.HSIDiv = RCC_HSI_DIV2;
  RCC_OscInitStruct.HSICalibrationValue = RCC_HSICALIBRATION_DEFAULT;
  RCC_OscInitStruct.LSIState = RCC_LSI_ON;
  RCC_OscInitStruct.HSI48State = RCC_HSI48_ON;
  RCC_OscInitStruct.CSIState = RCC_CSI_ON;
  RCC_OscInitStruct.CSICalibrationValue = RCC_CSICALIBRATION_DEFAULT;
  RCC_OscInitStruct.PLL.PLLState = RCC_PLL_ON;
  RCC_OscInitStruct.PLL.PLLSource = RCC_PLL1_SOURCE_HSI;
  RCC_OscInitStruct.PLL.PLLM = 2;
  RCC_OscInitStruct.PLL.PLLN = 26;
  RCC_OscInitStruct.PLL.PLLP = 2;
  RCC_OscInitStruct.PLL.PLLQ = 16;
  RCC_OscInitStruct.PLL.PLLR = 2;
  RCC_OscInitStruct.PLL.PLLRGE = RCC_PLL1_VCIRANGE_3;
  RCC_OscInitStruct.PLL.PLLVCOSEL = RCC_PLL1_VCORANGE_WIDE;
  RCC_OscInitStruct.PLL.PLLFRACN = 0;
  if (HAL_RCC_OscConfig(&RCC_OscInitStruct) != HAL_OK)
  {
    Error_Handler();
  }

  /** Initializes the CPU, AHB and APB buses clocks
  */
  RCC_ClkInitStruct.ClockType = RCC_CLOCKTYPE_HCLK|RCC_CLOCKTYPE_SYSCLK
                              |RCC_CLOCKTYPE_PCLK1|RCC_CLOCKTYPE_PCLK2
                              |RCC_CLOCKTYPE_PCLK3;
  RCC_ClkInitStruct.SYSCLKSource = RCC_SYSCLKSOURCE_PLLCLK;
  RCC_ClkInitStruct.AHBCLKDivider = RCC_SYSCLK_DIV2;
  RCC_ClkInitStruct.APB1CLKDivider = RCC_HCLK_DIV1;
  RCC_ClkInitStruct.APB2CLKDivider = RCC_HCLK_DIV1;
  RCC_ClkInitStruct.APB3CLKDivider = RCC_HCLK_DIV1;

  if (HAL_RCC_ClockConfig(&RCC_ClkInitStruct, FLASH_LATENCY_4) != HAL_OK)
  {
    Error_Handler();
  }

  /** Configure the programming delay
  */
  __HAL_FLASH_SET_PROGRAM_DELAY(FLASH_PROGRAMMING_DELAY_2);
}

static void MX_ADC1_Init(void)
{

  ADC_ChannelConfTypeDef sConfig = {0};

  /** Common config
  */
  hadc1.Instance = ADC1;
  hadc1.Init.ClockPrescaler = ADC_CLOCK_ASYNC_DIV4;
  hadc1.Init.Resolution = ADC_RESOLUTION_12B;
  hadc1.Init.DataAlign = ADC_DATAALIGN_RIGHT;
  hadc1.Init.ScanConvMode = ADC_SCAN_ENABLE;
  hadc1.Init.EOCSelection = ADC_EOC_SINGLE_CONV;
  hadc1.Init.LowPowerAutoWait = DISABLE;
  hadc1.Init.ContinuousConvMode = DISABLE;
  hadc1.Init.NbrOfConversion = 5;
  hadc1.Init.DiscontinuousConvMode = DISABLE;
  hadc1.Init.ExternalTrigConv = ADC_EXTERNALTRIG_T3_TRGO;
  hadc1.Init.ExternalTrigConvEdge = ADC_EXTERNALTRIGCONVEDGE_RISING;
  hadc1.Init.DMAContinuousRequests = DISABLE;
  hadc1.Init.SamplingMode = ADC_SAMPLING_MODE_NORMAL;
  hadc1.Init.Overrun = ADC_OVR_DATA_PRESERVED;
  hadc1.Init.OversamplingMode = DISABLE;
  if (HAL_ADC_Init(&hadc1) != HAL_OK)
  {
    Error_Handler();
  }

  /** Configure Regular Channel
  */
  sConfig.Channel = ADC_CHANNEL_1;
  sConfig.Rank = ADC_REGULAR_RANK_1;
  sConfig.SamplingTime = ADC_SAMPLETIME_12CYCLES_5;
  sConfig.SingleDiff = ADC_SINGLE_ENDED;
  sConfig.OffsetNumber = ADC_OFFSET_NONE;
  sConfig.Offset = 0;
  if (HAL_ADC_ConfigChannel(&hadc1, &sConfig) != HAL_OK)
  {
    Error_Handler();
  }

  /** Configure Regular Channel
  */
  sConfig.Channel = ADC_CHANNEL_0;
  sConfig.Rank = ADC_REGULAR_RANK_2;
  if (HAL_ADC_ConfigChannel(&hadc1, &sConfig) != HAL_OK)
  {
    Error_Handler();
  }

  /** Configure Regular Channel
  */
  sConfig.Channel = ADC_CHANNEL_19;
  sConfig.Rank = ADC_REGULAR_RANK_3;
  sConfig.SamplingTime = ADC_SAMPLETIME_6CYCLES_5;
  if (HAL_ADC_ConfigChannel(&hadc1, &sConfig) != HAL_OK)
  {
    Error_Handler();
  }

  /** Configure Regular Channel
  */
  sConfig.Channel = ADC_CHANNEL_9;
  sConfig.Rank = ADC_REGULAR_RANK_4;
  if (HAL_ADC_ConfigChannel(&hadc1, &sConfig) != HAL_OK)
  {
    Error_Handler();
  }

  /** Configure Regular Channel
  */
  sConfig.Channel = ADC_CHANNEL_14;
  sConfig.Rank = ADC_REGULAR_RANK_5;
  if (HAL_ADC_ConfigChannel(&hadc1, &sConfig) != HAL_OK)
  {
    Error_Handler();
  }

}

static void MX_DAC1_Init(void)
{

  DAC_ChannelConfTypeDef sConfig = {0};

  /** DAC Initialization
  */
  hdac1.Instance = DAC1;
  if (HAL_DAC_Init(&hdac1) != HAL_OK)
  {
    Error_Handler();
  }

  /** DAC channel OUT1 config
  */
  sConfig.DAC_HighFrequency = DAC_HIGH_FREQUENCY_INTERFACE_MODE_DISABLE;
  sConfig.DAC_DMADoubleDataMode = DISABLE;
  sConfig.DAC_SignedFormat = DISABLE;
  sConfig.DAC_SampleAndHold = DAC_SAMPLEANDHOLD_DISABLE;
  sConfig.DAC_Trigger = DAC_TRIGGER_NONE;
  sConfig.DAC_OutputBuffer = DAC_OUTPUTBUFFER_ENABLE;
  sConfig.DAC_ConnectOnChipPeripheral = DAC_CHIPCONNECT_EXTERNAL;
  sConfig.DAC_UserTrimming = DAC_TRIMMING_FACTORY;
  if (HAL_DAC_ConfigChannel(&hdac1, &sConfig, DAC_CHANNEL_1) != HAL_OK)
  {
    Error_Handler();
  }

}

static void MX_GPDMA1_Init(void)
{

  /* Peripheral clock enable */
  __HAL_RCC_GPDMA1_CLK_ENABLE();

  /* GPDMA1 interrupt Init */
    HAL_NVIC_SetPriority(GPDMA1_Channel7_IRQn, 0, 0);
    HAL_NVIC_EnableIRQ(GPDMA1_Channel7_IRQn);

}

static void MX_SPI2_Init(void)
{

  /* SPI2 parameter configuration*/
  hspi2.Instance = SPI2;
  hspi2.Init.Mode = SPI_MODE_MASTER;
  hspi2.Init.Direction = SPI_DIRECTION_2LINES_TXONLY;
  hspi2.Init.DataSize = SPI_DATASIZE_8BIT;
  hspi2.Init.CLKPolarity = SPI_POLARITY_LOW;
  hspi2.Init.CLKPhase = SPI_PHASE_1EDGE;
  hspi2.Init.NSS = SPI_NSS_SOFT;
  hspi2.Init.BaudRatePrescaler = SPI_BAUDRATEPRESCALER_2;
  hspi2.Init.FirstBit = SPI_FIRSTBIT_LSB;
  hspi2.Init.TIMode = SPI_TIMODE_DISABLE;
  hspi2.Init.CRCCalculation = SPI_CRCCALCULATION_DISABLE;
  hspi2.Init.CRCPolynomial = 0x7;
  hspi2.Init.NSSPMode = SPI_NSS_PULSE_DISABLE;
  hspi2.Init.NSSPolarity = SPI_NSS_POLARITY_LOW;
  hspi2.Init.FifoThreshold = SPI_FIFO_THRESHOLD_01DATA;
  hspi2.Init.MasterSSIdleness = SPI_MASTER_SS_IDLENESS_00CYCLE;
  hspi2.Init.MasterInterDataIdleness = SPI_MASTER_INTERDATA_IDLENESS_00CYCLE;
  hspi2.Init.MasterReceiverAutoSusp = SPI_MASTER_RX_AUTOSUSP_DISABLE;
  hspi2.Init.MasterKeepIOState = SPI_MASTER_KEEP_IO_STATE_DISABLE;
  hspi2.Init.IOSwap = SPI_IO_SWAP_DISABLE;
  hspi2.Init.ReadyMasterManagement = SPI_RDY_MASTER_MANAGEMENT_INTERNALLY;
  hspi2.Init.ReadyPolarity = SPI_RDY_POLARITY_HIGH;
  if (HAL_SPI_Init(&hspi2) != HAL_OK)
  {
    Error_Handler();
  }

}

static void MX_TIM1_Init(void)
{

  TIM_ClockConfigTypeDef sClockSourceConfig = {0};
  TIM_MasterConfigTypeDef sMasterConfig = {0};

  htim1.Instance = TIM1;
  htim1.Init.Prescaler = 519;
  htim1.Init.CounterMode = TIM_COUNTERMODE_UP;
  htim1.Init.Period = 59999;
  htim1.Init.ClockDivision = TIM_CLOCKDIVISION_DIV1;
  htim1.Init.RepetitionCounter = 0;
  htim1.Init.AutoReloadPreload = TIM_AUTORELOAD_PRELOAD_DISABLE;
  if (HAL_TIM_Base_Init(&htim1) != HAL_OK)
  {
    Error_Handler();
  }
  sClockSourceConfig.ClockSource = TIM_CLOCKSOURCE_INTERNAL;
  if (HAL_TIM_ConfigClockSource(&htim1, &sClockSourceConfig) != HAL_OK)
  {
    Error_Handler();
  }
  sMasterConfig.MasterOutputTrigger = TIM_TRGO_RESET;
  sMasterConfig.MasterOutputTrigger2 = TIM_TRGO2_RESET;
  sMasterConfig.MasterSlaveMode = TIM_MASTERSLAVEMODE_DISABLE;
  if (HAL_TIMEx_MasterConfigSynchronization(&htim1, &sMasterConfig) != HAL_OK)
  {
    Error_Handler();
  }

}

static void MX_TIM2_Init(void)
{

  TIM_MasterConfigTypeDef sMasterConfig = {0};
  TIM_OC_InitTypeDef sConfigOC = {0};

  htim2.Instance = TIM2;
  htim2.Init.Prescaler = 0;
  htim2.Init.CounterMode = TIM_COUNTERMODE_UP;
  htim2.Init.Period = 4294967295;
  htim2.Init.ClockDivision = TIM_CLOCKDIVISION_DIV1;
  htim2.Init.AutoReloadPreload = TIM_AUTORELOAD_PRELOAD_DISABLE;
  if (HAL_TIM_PWM_Init(&htim2) != HAL_OK)
  {
    Error_Handler();
  }
  sMasterConfig.MasterOutputTrigger = TIM_TRGO_RESET;
  sMasterConfig.MasterSlaveMode = TIM_MASTERSLAVEMODE_DISABLE;
  if (HAL_TIMEx_MasterConfigSynchronization(&htim2, &sMasterConfig) != HAL_OK)
  {
    Error_Handler();
  }
  sConfigOC.OCMode = TIM_OCMODE_PWM1;
  sConfigOC.Pulse = 0;
  sConfigOC.OCPolarity = TIM_OCPOLARITY_HIGH;
  sConfigOC.OCFastMode = TIM_OCFAST_DISABLE;
  if (HAL_TIM_PWM_ConfigChannel(&htim2, &sConfigOC, TIM_CHANNEL_4) != HAL_OK)
  {
    Error_Handler();
  }
  HAL_TIM_MspPostInit(&htim2);

}

static void MX_TIM3_Init(void)
{

  TIM_ClockConfigTypeDef sClockSourceConfig = {0};
  TIM_MasterConfigTypeDef sMasterConfig = {0};

  htim3.Instance = TIM3;
  htim3.Init.Prescaler = 0;
  htim3.Init.CounterMode = TIM_COUNTERMODE_UP;
  htim3.Init.Period = 10399;
  htim3.Init.ClockDivision = TIM_CLOCKDIVISION_DIV1;
  htim3.Init.AutoReloadPreload = TIM_AUTORELOAD_PRELOAD_DISABLE;
  if (HAL_TIM_Base_Init(&htim3) != HAL_OK)
  {
    Error_Handler();
  }
  sClockSourceConfig.ClockSource = TIM_CLOCKSOURCE_INTERNAL;
  if (HAL_TIM_ConfigClockSource(&htim3, &sClockSourceConfig) != HAL_OK)
  {
    Error_Handler();
  }
  sMasterConfig.MasterOutputTrigger = TIM_TRGO_UPDATE;
  sMasterConfig.MasterSlaveMode = TIM_MASTERSLAVEMODE_DISABLE;
  if (HAL_TIMEx_MasterConfigSynchronization(&htim3, &sMasterConfig) != HAL_OK)
  {
    Error_Handler();
  }

}

static void MX_USART3_UART_Init(void)
{

  huart3.Instance = USART3;
  huart3.Init.BaudRate = 115200;
  huart3.Init.WordLength = UART_WORDLENGTH_8B;
  huart3.Init.StopBits = UART_STOPBITS_1;
  huart3.Init.Parity = UART_PARITY_NONE;
  huart3.Init.Mode = UART_MODE_TX_RX;
  huart3.Init.HwFlowCtl = UART_HWCONTROL_NONE;
  huart3.Init.OverSampling = UART_OVERSAMPLING_16;
  huart3.Init.OneBitSampling = UART_ONE_BIT_SAMPLE_DISABLE;
  huart3.Init.ClockPrescaler = UART_PRESCALER_DIV1;
  huart3.AdvancedInit.AdvFeatureInit = UART_ADVFEATURE_NO_INIT;
  if (HAL_UART_Init(&huart3) != HAL_OK)
  {
    Error_Handler();
  }
  if (HAL_UARTEx_SetTxFifoThreshold(&huart3, UART_TXFIFO_THRESHOLD_1_8) != HAL_OK)
  {
    Error_Handler();
  }
  if (HAL_UARTEx_SetRxFifoThreshold(&huart3, UART_RXFIFO_THRESHOLD_1_8) != HAL_OK)
  {
    Error_Handler();
  }
  if (HAL_UARTEx_DisableFifoMode(&huart3) != HAL_OK)
  {
    Error_Handler();
  }

}

static void MX_USB_PCD_Init(void)
{

  hpcd_USB_DRD_FS.Instance = USB_DRD_FS;
  hpcd_USB_DRD_FS.Init.dev_endpoints = 8;
  hpcd_USB_DRD_FS.Init.speed = USBD_FS_SPEED;
  hpcd_USB_DRD_FS.Init.phy_itface = PCD_PHY_EMBEDDED;
  hpcd_USB_DRD_FS.Init.Sof_enable = DISABLE;
  hpcd_USB_DRD_FS.Init.low_power_enable = DISABLE;
  hpcd_USB_DRD_FS.Init.lpm_enable = DISABLE;
  hpcd_USB_DRD_FS.Init.battery_charging_enable = DISABLE;
  hpcd_USB_DRD_FS.Init.vbus_sensing_enable = DISABLE;
  hpcd_USB_DRD_FS.Init.bulk_doublebuffer_enable = DISABLE;
  hpcd_USB_DRD_FS.Init.iso_singlebuffer_enable = DISABLE;
  if (HAL_PCD_Init(&hpcd_USB_DRD_FS) != HAL_OK)
  {
    Error_Handler();
  }

}

static void MX_GPIO_Init(void)
{
  GPIO_InitTypeDef GPIO_InitStruct = {0};

  /* GPIO Ports Clock Enable */
  __HAL_RCC_GPIOA_CLK_ENABLE();
  __HAL_RCC_GPIOB_CLK_ENABLE();

  /*Configure GPIO pin Output Level */
  HAL_GPIO_WritePin(EN_GPIO_Port, EN_Pin, GPIO_PIN_RESET);

  /*Configure GPIO pin Output Level */
  HAL_GPIO_WritePin(GPIOB, DISP_CS_Pin|LED_RED_Pin|LED_BLUE_Pin|LED_YELLOW_Pin, GPIO_PIN_RESET);

  /*Configure GPIO pin : EN_Pin */
  GPIO_InitStruct.Pin = EN_Pin;
  GPIO_InitStruct.Mode = GPIO_MODE_OUTPUT_PP;
  GPIO_InitStruct.Pull = GPIO_NOPULL;
  GPIO_InitStruct.Speed = GPIO_SPEED_FREQ_LOW;
  HAL_GPIO_Init(EN_GPIO_Port, &GPIO_InitStruct);

  /*Configure GPIO pins : DISP_CS_Pin LED_RED_Pin LED_BLUE_Pin LED_YELLOW_Pin */
  GPIO_InitStruct.Pin = DISP_CS_Pin|LED_RED_Pin|LED_BLUE_Pin|LED_YELLOW_Pin;
  GPIO_InitStruct.Mode = GPIO_MODE_OUTPUT_PP;
  GPIO_InitStruct.Pull = GPIO_NOPULL;
  GPIO_InitStruct.Speed = GPIO_SPEED_FREQ_LOW;
  HAL_GPIO_Init(GPIOB, &GPIO_InitStruct);

  /*Configure GPIO pin : OUTPUT_EN_SW_Pin */
  GPIO_InitStruct.Pin = OUTPUT_EN_SW_Pin;
  GPIO_InitStruct.Mode = GPIO_MODE_INPUT;
  GPIO_InitStruct.Pull = GPIO_NOPULL;
  HAL_GPIO_Init(OUTPUT_EN_SW_GPIO_Port, &GPIO_InitStruct);

}

void Error_Handler(void)
{
  __disable_irq();
  while (1)
  {
  }
}
